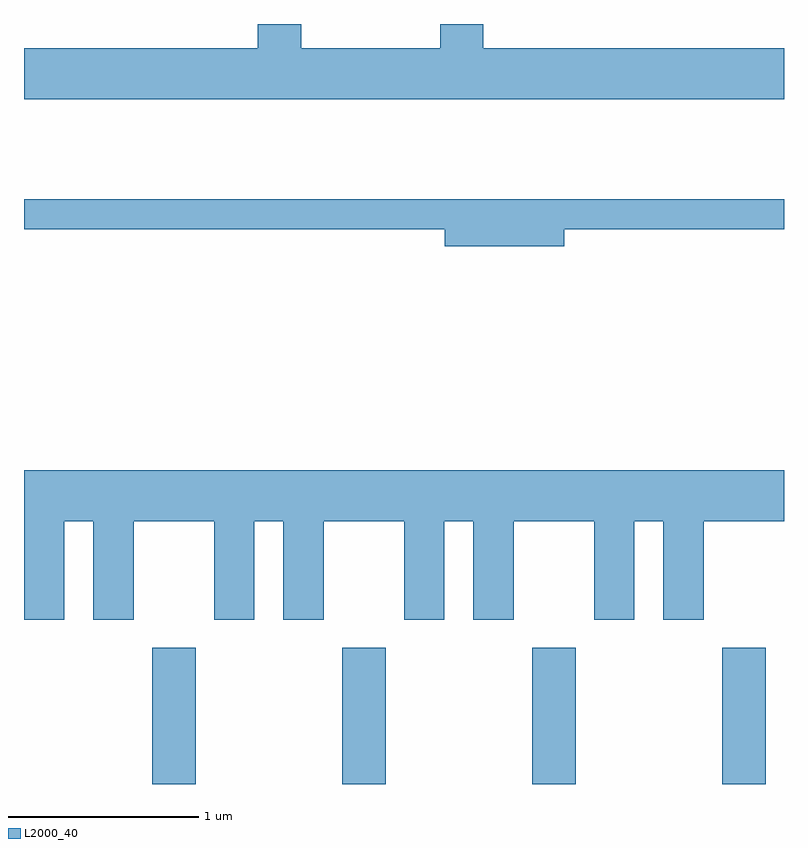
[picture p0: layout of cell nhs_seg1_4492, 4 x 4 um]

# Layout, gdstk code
import gdstk
lib = gdstk.Library(unit=1e-6, precision=1e-09)
def R(c, l, rs):  # rectangles x0, y0, x1, y1
    for r in rs: c.add(gdstk.rectangle(r[:2], r[2:], *l))
def A(c, l, x, y, w, h, nx, ny, dx, dy):  # array of equal rectangles
    R(c, l, [(x+i*dx, y+j*dy, x+i*dx+w, y+j*dy+h) for i in range(nx) for j in range(ny)])
def P(c, l, *ps):  # polygons
    for p in ps: c.add(gdstk.Polygon(p, *l))
L2000_40 = (2000, 40)

nhs_seg1_4492 = lib.new_cell('nhs_seg1_4492')
A(nhs_seg1_4492, L2000_40, 320.286, 933.712, 0.228, 0.717, 4, 1, 1, 0)
P(nhs_seg1_4492, L2000_40, [(323.611,937.584),(322.029,937.584),(322.029,937.712),(321.801,937.712),(321.801,937.584),(321.069,937.584),(321.069,937.712),(320.841,937.712),(320.841,937.584),(319.611,937.584),(319.611,937.316),(323.611,937.316)],
  [(322.454,936.631),(323.611,936.631),(323.611,936.789),(319.611,936.789),(319.611,936.631),(321.826,936.631),(321.826,936.541),(322.454,936.541)],
  [(319.824,935.096),(319.976,935.096),(319.976,934.576),(320.189,934.576),(320.189,935.096),(320.611,935.096),(320.611,934.576),(320.824,934.576),(320.824,935.096),(320.976,935.096),(320.976,934.576),(321.189,934.576),(321.189,935.096),(321.611,935.096),(321.611,934.576),(321.824,934.576),(321.824,935.096),(321.976,935.096),(321.976,934.576),(322.189,934.576),(322.189,935.096),(322.611,935.096),(322.611,934.576),(322.824,934.576),(322.824,935.096),(322.976,935.096),(322.976,934.576),(323.189,934.576),(323.189,935.096),(323.611,935.096),(323.611,935.364),(319.611,935.364),(319.611,934.576),(319.824,934.576)])

lib.write_gds('nhs_seg1_4492.gds')
